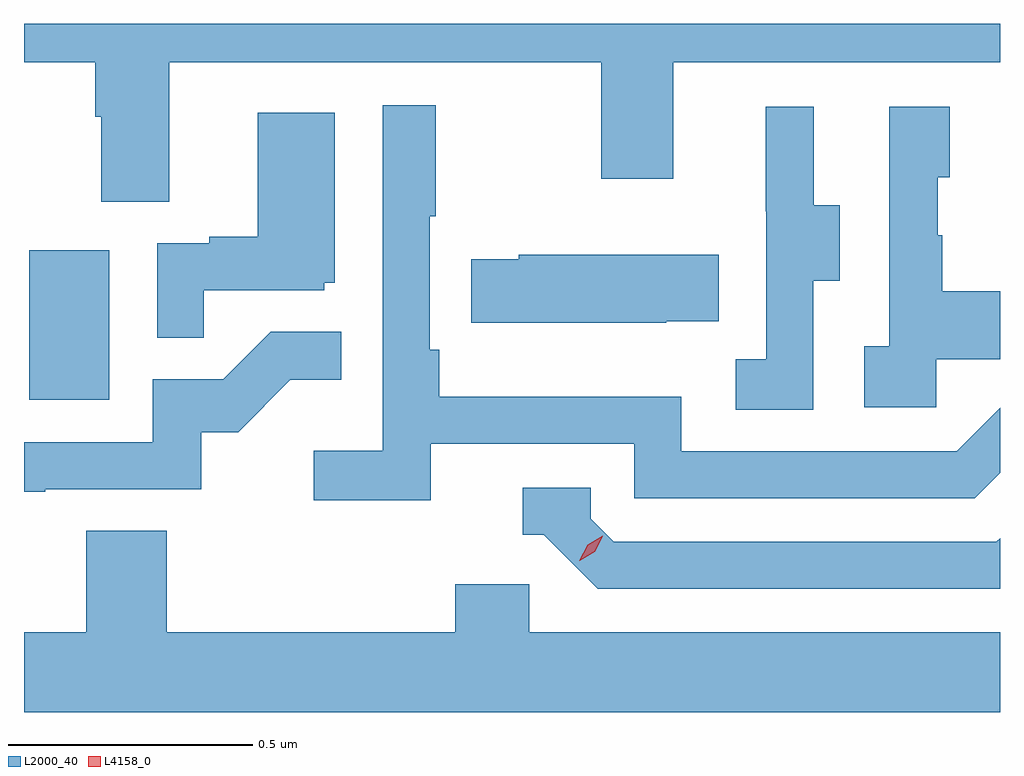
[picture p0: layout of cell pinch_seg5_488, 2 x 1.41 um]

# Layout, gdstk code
import gdstk
lib = gdstk.Library(unit=1e-6, precision=1e-09)
def R(c, l, rs):  # rectangles x0, y0, x1, y1
    for r in rs: c.add(gdstk.rectangle(r[:2], r[2:], *l))
def P(c, l, *ps):  # polygons
    for p in ps: c.add(gdstk.Polygon(p, *l))
L2000_40 = (2000, 40)
L4158_0 = (4158, 0)

pinch_seg5_488 = lib.new_cell('pinch_seg5_488')
R(pinch_seg5_488, L2000_40, [(940.322,837.42,940.486,837.727)])
P(pinch_seg5_488, L2000_40, [(940.609,838.112),(941.494,838.112),(941.494,837.873),(941.641,837.873),(941.641,838.112),(942.311,838.112),(942.311,838.191),(940.311,838.191),(940.311,838.112),(940.457,838.112),(940.457,838),(940.469,838),(940.469,837.826),(940.609,837.826)],
  [(941.144,837.33),(941.562,837.33),(941.562,837.219),(942.259,837.219),(942.311,837.271),(942.311,837.404),(942.222,837.315),(941.658,837.315),(941.658,837.427),(941.162,837.427),(941.162,837.523),(941.142,837.523),(941.142,837.796),(941.155,837.796),(941.155,838.024),(941.046,838.024),(941.046,837.316),(940.905,837.316),(940.905,837.214),(941.144,837.214)],
  [(942.18,837.503),(942.311,837.503),(942.311,837.643),(942.193,837.643),(942.193,837.758),(942.183,837.758),(942.183,837.876),(942.208,837.876),(942.208,838.021),(942.084,838.021),(942.084,837.53),(942.033,837.53),(942.033,837.405),(942.18,837.405)],
  [(941.928,837.664),(941.983,837.664),(941.983,837.819),(941.929,837.819),(941.929,838.021),(941.831,838.021),(941.831,837.807),(941.832,837.807),(941.832,837.503),(941.769,837.503),(941.769,837.4),(941.928,837.4)],
  [(940.679,837.645),(940.926,837.645),(940.926,837.66),(940.948,837.66),(940.948,838.009),(940.79,838.009),(940.79,837.754),(940.691,837.754),(940.691,837.741),(940.584,837.741),(940.584,837.547),(940.679,837.547)],
  [(941.627,837.581),(941.735,837.581),(941.735,837.718),(941.325,837.718),(941.325,837.708),(941.227,837.708),(941.227,837.578),(941.627,837.578)],
  [(940.355,837.237),(940.674,837.237),(940.674,837.354),(940.75,837.354),(940.857,837.461),(940.961,837.461),(940.961,837.56),(940.817,837.56),(940.719,837.462),(940.575,837.462),(940.575,837.333),(940.311,837.333),(940.311,837.232),(940.355,837.232)],
  [(942.311,837.137),(942.303,837.129),(941.52,837.129),(941.472,837.177),(941.472,837.24),(941.333,837.24),(941.333,837.144),(941.376,837.144),(941.487,837.033),(942.311,837.033)],
  [(942.311,836.944),(941.346,836.944),(941.346,837.042),(941.195,837.042),(941.195,836.944),(940.604,836.944),(940.604,837.152),(940.439,837.152),(940.439,836.944),(940.311,836.944),(940.311,836.78),(942.311,836.78)])
P(pinch_seg5_488, L4158_0, [(941.449,837.091),(941.449,837.091),(941.466,837.123),(941.497,837.142),(941.497,837.142),(941.497,837.141),(941.481,837.109),(941.45,837.091)])

lib.write_gds('pinch_seg5_488.gds')
